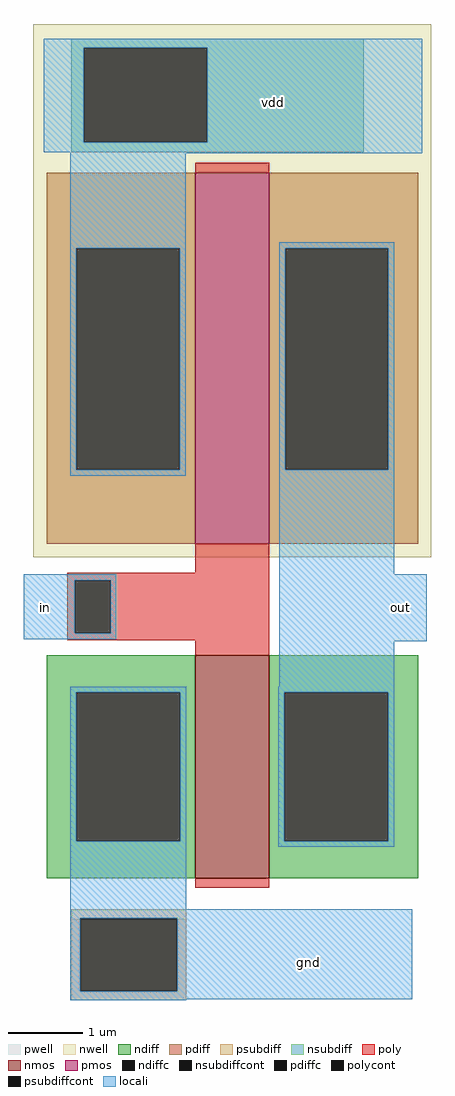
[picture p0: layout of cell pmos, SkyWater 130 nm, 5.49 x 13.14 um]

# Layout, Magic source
magic
tech sky130A
<< nwell >>
rect -18 -18 518 700
<< pwell >>
rect 32 -614 188 -505
<< nmos >>
rect 200 -450 300 -150
<< pmos >>
rect 200 0 300 500
<< ndiff >>
rect 0 -200 200 -150
rect 0 -400 40 -200
rect 180 -400 200 -200
rect 0 -450 200 -400
rect 300 -200 500 -150
rect 300 -400 320 -200
rect 460 -400 500 -200
rect 300 -450 500 -400
<< pdiff >>
rect 0 398 200 500
rect 0 100 40 398
rect 179 100 200 398
rect 0 0 200 100
rect 300 398 500 500
rect 300 100 321 398
rect 460 100 500 398
rect 300 0 500 100
<< ndiffc >>
rect 40 -400 180 -200
rect 320 -400 460 -200
<< pdiffc >>
rect 40 100 179 398
rect 321 100 460 398
<< psubdiff >>
rect 33 -504 188 -492
rect 33 -602 45 -504
rect 176 -602 188 -504
rect 33 -614 188 -602
<< nsubdiff >>
rect 33 668 427 680
rect 33 541 50 668
rect 216 541 427 668
rect 33 527 427 541
<< psubdiffcont >>
rect 45 -602 176 -504
<< nsubdiffcont >>
rect 50 541 216 668
<< poly >>
rect 200 500 300 513
rect 200 -39 300 0
rect 28 -49 300 -39
rect 28 -120 38 -49
rect 86 -120 300 -49
rect 28 -130 300 -120
rect 200 -150 300 -130
rect 200 -463 300 -450
<< polycont >>
rect 38 -120 86 -49
<< locali >>
rect -4 668 506 680
rect -4 541 50 668
rect 216 541 506 668
rect -4 527 506 541
rect 32 526 506 527
rect 32 398 187 526
rect 32 100 40 398
rect 179 100 187 398
rect 32 92 187 100
rect 313 398 468 406
rect 313 100 321 398
rect 460 100 468 398
rect 313 -41 468 100
rect -31 -49 94 -41
rect -31 -120 38 -49
rect 86 -120 94 -49
rect -31 -128 94 -120
rect 313 -131 512 -41
rect 313 -192 468 -131
rect 32 -200 188 -192
rect 32 -400 40 -200
rect 180 -400 188 -200
rect 32 -492 188 -400
rect 312 -200 468 -192
rect 312 -400 320 -200
rect 460 -400 468 -200
rect 312 -408 468 -400
rect 32 -504 492 -492
rect 32 -602 45 -504
rect 176 -602 492 -504
rect 32 -613 492 -602
rect 32 -614 188 -613
<< labels >>
rlabel locali 306 594 306 594 1 vdd
port 1 n
rlabel locali 352 -564 352 -564 1 gnd
port 4 n
rlabel locali -1 -86 -1 -86 1 in
port 2 n
rlabel locali 476 -85 476 -85 1 out
port 3 n
<< end >>
